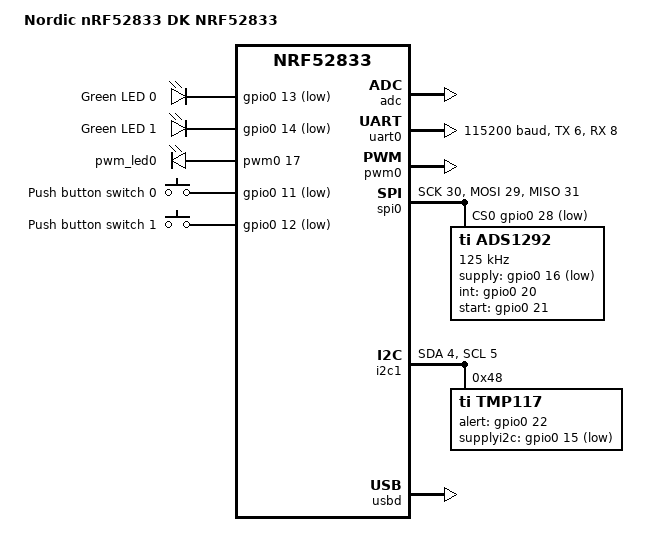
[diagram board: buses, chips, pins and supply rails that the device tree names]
/*
 * Copyright (c) 2019 Nordic Semiconductor ASA
 * Modification  Lueger 12.12.2021
 * SPDX-License-Identifier: Apache-2.0
 */

/dts-v1/;
#include <nordic/nrf52833_qiaa.dtsi>

/ {
	model = "Nordic nRF52833 DK NRF52833";
	compatible = "nordic,nrf52833-dk-nrf52833";

	chosen {
		zephyr,console = &uart0;
		zephyr,shell-uart = &uart0;
		zephyr,uart-mcumgr = &uart0;
		zephyr,bt-mon-uart = &uart0;
		zephyr,bt-c2h-uart = &uart0;
		zephyr,sram = &sram0;
		zephyr,flash = &flash0;
		zephyr,code-partition = &slot0_partition;
	};

	leds {
		compatible = "gpio-leds";
		led0: led_0 {
			gpios = <&gpio0 13 GPIO_ACTIVE_LOW>;
			label = "Green LED 0";
		};
		led1: led_1 {
			gpios = <&gpio0 14 GPIO_ACTIVE_LOW>;
			label = "Green LED 1";
		};
	};

	pwmleds {
		compatible = "pwm-leds";
		pwm_led0: pwm_led_0 {
			pwms = <&pwm0 17>;
		};
	};

	buttons {
		compatible = "gpio-keys";
		button0: button_0 {
			gpios = <&gpio0 11 (GPIO_PULL_UP | GPIO_ACTIVE_LOW)>;
			label = "Push button switch 0";
		};
		button1: button_1 {
			gpios = <&gpio0 12 (GPIO_PULL_UP | GPIO_ACTIVE_LOW)>;
			label = "Push button switch 1";
		};
		
	};

	/* These aliases are provided for compatibility with samples */
	aliases {
		led0 = &led0;
		led1 = &led1;
		pwm-led0 = &pwm_led0;
		sw0 = &button0;
		sw1 = &button1;
		bootloader-led0 = &led0;
		usbd0 = &usbd;
		
		};
};

&adc {
	status = "okay";
};

&gpiote {
	status = "okay";
};

&gpio0 {
	status = "okay";
};

&gpio1 {
	status = "okay";
};

&uart0 {
	compatible = "nordic,nrf-uarte";
	status = "okay";
	current-speed = <115200>;
	tx-pin = <6>;
	rx-pin = <8>;
	rts-pin = <5>;
	cts-pin = <7>;
};

/*
arduino_serial: &uart1 {
	status = "okay";
	current-speed = <115200>;
	rx-pin = <33>;
	tx-pin = <34>;
};
*/



&pwm0 {
	status = "okay";
	ch0-pin = <19>;
	ch0-inverted;
};

&spi0 {
	compatible = "nordic,nrf-spi";
	status = "okay";
	
	miso-pin = <31>;
        sck-pin = <30>;
        mosi-pin = <29>;

	cs-gpios = <&gpio0 28 GPIO_ACTIVE_LOW>;
        
	ecg0:ti_ads1292@0 {
		compatible = "ti,ads1292";
		reg = <0>;
		spi-max-frequency = <125000>;
		label= "ADS1292";
                supply-gpios = <&gpio0 16 GPIO_ACTIVE_LOW>;
                int-gpios = <&gpio0 20 GPIO_ACTIVE_HIGH>;
                start-gpios = <&gpio0 21 GPIO_ACTIVE_HIGH>;
	};

};

&i2c1 {
	compatible = "nordic,nrf-twi";
	status = "okay";
	sda-pin = <4>; // RuuviTag Revision b8
	scl-pin = <5>;
		ti_tmp117: ti_tmp117@48 {
		compatible = "ti,tmp117";
		reg = <0x48>;
		label = "TMP117";
		alert-gpios = <&gpio0 22 GPIO_ACTIVE_HIGH>;
		supplyi2c-gpios = <&gpio0 15 GPIO_ACTIVE_LOW>;

	};
};


&flash0 {

	partitions {
		compatible = "fixed-partitions";
		#address-cells = <1>;
		#size-cells = <1>;

		boot_partition: partition@0 {
			label = "mcuboot";
			reg = <0x000000000 0xC000>;
		};
		slot0_partition: partition@c000 {
			label = "image-0";
			reg = <0x0000C000 0x32000>;
		};
		slot1_partition: partition@3e000 {
			label = "image-1";
			reg = <0x0003E000 0x32000>;
		};
		scratch_partition: partition@70000 {
			label = "image-scratch";
			reg = <0x00070000 0xA000>;
		};
		storage_partition: partition@7a000 {
			label = "storage";
			reg = <0x0007A000 0x00006000>;
		};
	};
};

&usbd {
	compatible = "nordic,nrf-usbd";
	status = "okay";
};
